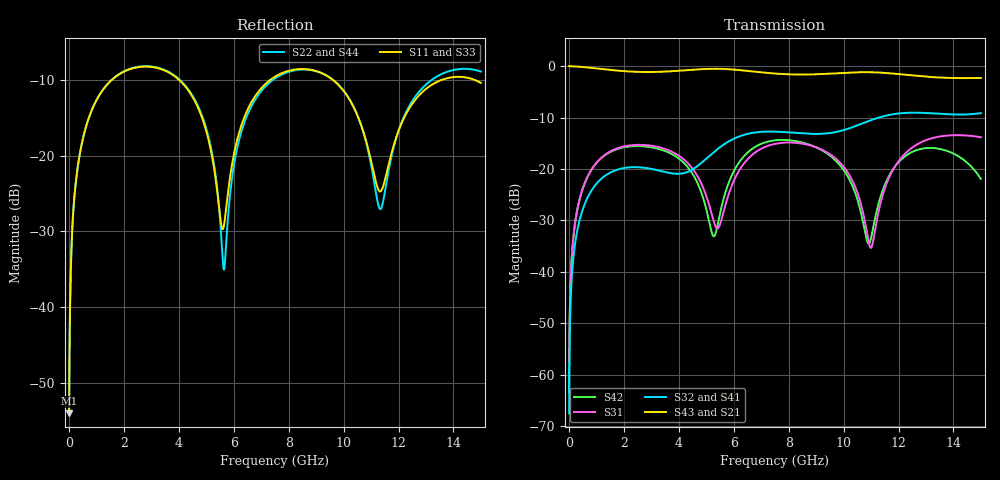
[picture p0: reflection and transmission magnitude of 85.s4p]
! Created with skrf 1.8.0 (http://scikit-rf.org).
# GHz S RI R 50.0
!freq ReS11 ImS11 ReS12 ImS12 ReS13 ImS13
! ReS14 ImS14
! ReS21 ImS21 ReS22 ImS22 ReS23 ImS23
! ReS24 ImS24
! ReS31 ImS31 ReS32 ImS32 ReS33 ImS33
! ReS34 ImS34
! ReS41 ImS41 ReS42 ImS42 ReS43 ImS43
! ReS44 ImS44
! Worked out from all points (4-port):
!   2499 points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, 5 MHz to 15 GHz, reference 50 ohm
!   strongest paths, dB at 5 MHz, 3.476 GHz, 7.19 GHz, 11.1 GHz, 15 GHz:
!     S43: 0.0, -1.1, -1.3, -1.2, -2.3
!     S21: 0.0, -1.1, -1.3, -1.2, -2.3
!     S32: -67.5, -20.6, -12.7, -10.3, -9.2
!     S41: -67.5, -20.6, -12.8, -10.3, -9.2
!     S31: -63.4, -16.1, -15.6, -33.4, -13.8
!     S42: -63.4, -16.5, -14.8, -30.9, -21.9
!   lowest |S11| = -54.0 dB at 5 MHz (marker M1), VSWR 1.00, Z = 50.2 + j0.121 ohm
!   |S11| at or under -10 dB: start of sweep to 1.562 GHz; 4.008 GHz to 7.333 GHz (3.325 GHz wide, 58.6 % of centre); 9.607 GHz to 13.58 GHz (3.968 GHz wide, 34.2 % of centre) (the widest 3 of 4)
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0.005  0.00159 0.0012  0.9984 -0.0031  8.12e-05 0.000671  -7.86e-05 -0.000414
       0.9984 -0.0031  0.00159 0.0012  -7.86e-05 -0.000414  8.11e-05 0.000671
       8.12e-05 0.000671  -7.86e-05 -0.000414  0.00159 0.0012  0.9984 -0.0031
       -7.86e-05 -0.000414  8.11e-05 0.000671  0.9984 -0.0031  0.00159 0.0012
0.3626511  0.0287 0.0905  0.9604 -0.222  0.0147 0.0454  -0.0118 -0.0276
           0.9604 -0.222  0.0288 0.0905  -0.0118 -0.0276  0.014 0.0456
           0.0147 0.0454  -0.0118 -0.0276  0.0287 0.0905  0.9604 -0.222
           -0.0118 -0.0276  0.014 0.0456  0.9604 -0.222  0.0288 0.0905
1.619545  0.271 0.1754  0.5414 -0.7333  0.1411 0.0605  -0.0952 -0.00454
          0.5414 -0.7333  0.2734 0.1738  -0.0953 -0.00444  0.134 0.0701
          0.1411 0.0605  -0.0953 -0.00444  0.271 0.1755  0.5413 -0.7333
          -0.0952 -0.00454  0.134 0.0701  0.5413 -0.7333  0.2736 0.1738
5.646103  0.0333 0.0105  -0.9355 -0.0628  -0.0174 0.0358  -0.00753 0.1733
          -0.9355 -0.0628  0.0177 7.29e-05  -0.00579 0.1734  0.0315 0.043
          -0.0174 0.0358  -0.00579 0.1734  0.0335 0.00769  -0.9355 -0.0633
          -0.00753 0.1733  0.0315 0.043  -0.9355 -0.0633  0.0179 -0.00261
8.822426  0.3647 -0.0502  0.0249 0.8286  0.1398 -0.0938  0.2066 -0.0707
          0.0249 0.8286  0.3637 -0.045  0.2065 -0.0746  0.1425 -0.0924
          0.1398 -0.0938  0.2065 -0.0746  0.3612 -0.0498  0.0267 0.8296
          0.2066 -0.0707  0.1425 -0.0924  0.0267 0.8296  0.3614 -0.0468
10.99208  0.0686 -0.0639  0.8178 0.3021  -0.0164 0.00485  0.0987 -0.281
          0.8178 0.3021  0.0575 -0.0676  0.0927 -0.2831  -0.0173 0.0117
          -0.0164 0.00485  0.0927 -0.2831  0.0678 -0.0611  0.8195 0.298
          0.0987 -0.281  -0.0173 0.0117  0.8195 0.298  0.0553 -0.0652
15  0.2952 -0.0632  -0.1566 -0.7506  0.00352 -0.2034  -0.3353 0.0937
    -0.1566 -0.7506  0.3475 -0.0882  -0.3328 0.104  0.0327 -0.073
    0.00352 -0.2034  -0.3328 0.104  0.2933 -0.0629  -0.1639 -0.7491
    -0.3353 0.0937  0.0327 -0.073  -0.1639 -0.7491  0.3461 -0.0918
